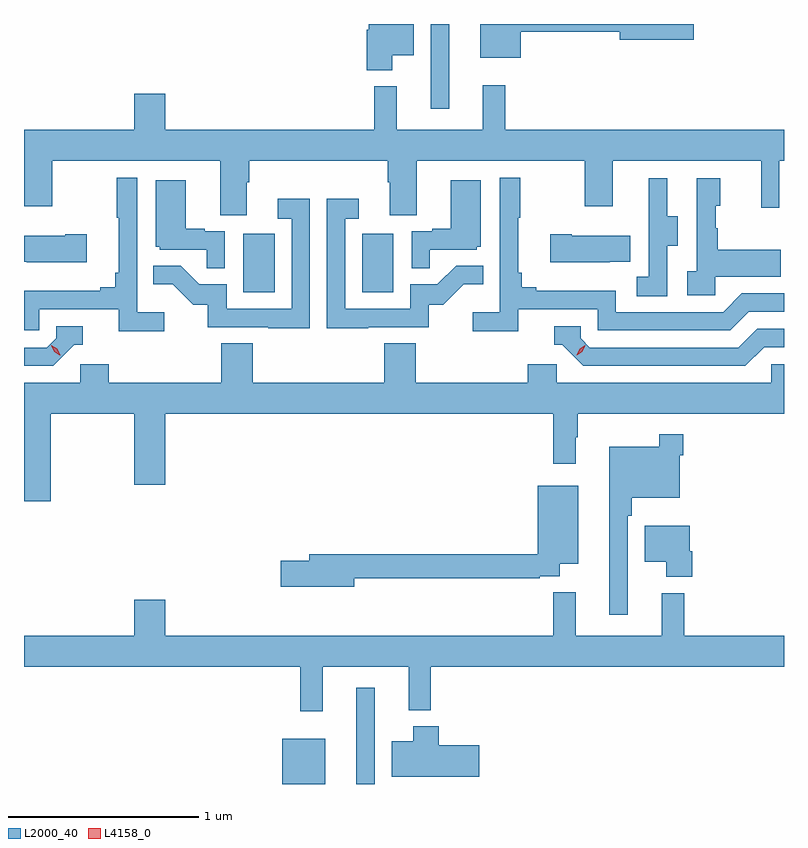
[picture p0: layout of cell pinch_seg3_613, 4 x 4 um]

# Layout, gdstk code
import gdstk
lib = gdstk.Library(unit=1e-6, precision=1e-09)
def R(c, l, rs):  # rectangles x0, y0, x1, y1
    for r in rs: c.add(gdstk.rectangle(r[:2], r[2:], *l))
def P(c, l, *ps):  # polygons
    for p in ps: c.add(gdstk.Polygon(p, *l))
L2000_40 = (2000, 40)
L4158_0 = (4158, 0)

pinch_seg3_613 = lib.new_cell('pinch_seg3_613')
R(pinch_seg3_613, L2000_40, [(1064.888,674.992,1065.115,675.229), (1065.278,674.992,1065.375,675.499), (1064.684,677.58,1064.848,677.887), (1065.308,677.58,1065.472,677.887), (1065.669,678.546,1065.766,678.992)])
P(pinch_seg3_613, L2000_40, [(1065.466,678.827),(1065.58,678.827),(1065.58,678.992),(1065.344,678.992),(1065.344,678.963),(1065.332,678.963),(1065.332,678.749),(1065.466,678.749)],
  [(1066.144,678.952),(1066.664,678.952),(1066.664,678.91),(1067.053,678.91),(1067.053,678.992),(1065.929,678.992),(1065.929,678.815),(1066.144,678.815)],
  [(1064.701,678.16),(1064.714,678.16),(1064.714,678.272),(1065.443,678.272),(1065.443,678.16),(1065.455,678.16),(1065.455,677.986),(1065.595,677.986),(1065.595,678.272),(1066.48,678.272),(1066.48,678.033),(1066.627,678.033),(1066.627,678.272),(1067.408,678.272),(1067.408,678.024),(1067.505,678.024),(1067.505,678.272),(1067.529,678.272),(1067.529,678.436),(1066.061,678.436),(1066.061,678.67),(1065.944,678.67),(1065.944,678.436),(1065.491,678.436),(1065.491,678.664),(1065.373,678.664),(1065.373,678.436),(1064.272,678.436),(1064.272,678.625),(1064.108,678.625),(1064.108,678.436),(1063.529,678.436),(1063.529,678.033),(1063.677,678.033),(1063.677,678.272),(1064.561,678.272),(1064.561,677.986),(1064.701,677.986)],
  [(1064.266,677.476),(1064.124,677.476),(1064.124,678.184),(1064.016,678.184),(1064.016,677.971),(1064.027,677.971),(1064.027,677.683),(1064.008,677.683),(1064.008,677.606),(1063.931,677.606),(1063.931,677.587),(1063.529,677.587),(1063.529,677.379),(1063.608,677.379),(1063.608,677.49),(1064.027,677.49),(1064.027,677.374),(1064.266,677.374)],
  [(1066.13,677.49),(1066.548,677.49),(1066.548,677.379),(1067.245,677.379),(1067.344,677.478),(1067.529,677.478),(1067.529,677.574),(1067.307,677.574),(1067.208,677.475),(1066.644,677.475),(1066.644,677.587),(1066.225,677.587),(1066.225,677.606),(1066.148,677.606),(1066.148,677.683),(1066.129,677.683),(1066.129,677.971),(1066.141,677.971),(1066.141,678.184),(1066.032,678.184),(1066.032,677.476),(1065.891,677.476),(1065.891,677.374),(1066.13,677.374)],
  [(1066.914,677.824),(1066.969,677.824),(1066.969,677.979),(1066.915,677.979),(1066.915,678.181),(1066.817,678.181),(1066.817,677.967),(1066.818,677.967),(1066.818,677.663),(1066.755,677.663),(1066.755,677.56),(1066.914,677.56)],
  [(1067.166,677.663),(1067.513,677.663),(1067.513,677.803),(1067.179,677.803),(1067.179,677.918),(1067.169,677.918),(1067.169,678.036),(1067.194,678.036),(1067.194,678.181),(1067.07,678.181),(1067.07,677.69),(1067.019,677.69),(1067.019,677.565),(1067.166,677.565)],
  [(1065.665,677.805),(1065.912,677.805),(1065.912,677.82),(1065.934,677.82),(1065.934,678.169),(1065.776,678.169),(1065.776,677.914),(1065.677,677.914),(1065.677,677.901),(1065.57,677.901),(1065.57,677.707),(1065.665,677.707)],
  [(1064.586,677.901),(1064.48,677.901),(1064.48,677.914),(1064.38,677.914),(1064.38,678.169),(1064.222,678.169),(1064.222,677.82),(1064.244,677.82),(1064.244,677.805),(1064.491,677.805),(1064.491,677.707),(1064.586,677.707)],
  [(1065.341,677.397),(1065.66,677.397),(1065.66,677.514),(1065.736,677.514),(1065.843,677.621),(1065.947,677.621),(1065.947,677.72),(1065.803,677.72),(1065.705,677.622),(1065.561,677.622),(1065.561,677.493),(1065.219,677.493),(1065.219,677.967),(1065.292,677.967),(1065.292,678.073),(1065.123,678.073),(1065.123,677.392),(1065.341,677.392)],
  [(1065.033,678.073),(1064.865,678.073),(1064.865,677.967),(1064.937,677.967),(1064.937,677.493),(1064.595,677.493),(1064.595,677.622),(1064.451,677.622),(1064.353,677.72),(1064.209,677.72),(1064.209,677.621),(1064.313,677.621),(1064.42,677.514),(1064.497,677.514),(1064.497,677.397),(1064.815,677.397),(1064.815,677.392),(1065.033,677.392)],
  [(1066.613,677.741),(1066.721,677.741),(1066.721,677.878),(1066.411,677.878),(1066.411,677.886),(1066.299,677.886),(1066.299,677.738),(1066.613,677.738)],
  [(1063.858,677.886),(1063.745,677.886),(1063.745,677.878),(1063.529,677.878),(1063.529,677.741),(1063.543,677.741),(1063.543,677.738),(1063.858,677.738)],
  [(1067.425,677.292),(1067.529,677.292),(1067.529,677.388),(1067.388,677.388),(1067.289,677.289),(1066.506,677.289),(1066.458,677.337),(1066.458,677.4),(1066.319,677.4),(1066.319,677.304),(1066.362,677.304),(1066.473,677.193),(1067.326,677.193)],
  [(1063.794,677.304),(1063.837,677.304),(1063.837,677.4),(1063.698,677.4),(1063.698,677.337),(1063.65,677.289),(1063.529,677.289),(1063.529,677.193),(1063.683,677.193)],
  [(1063.671,676.94),(1064.108,676.94),(1064.108,676.566),(1064.272,676.566),(1064.272,676.94),(1066.315,676.94),(1066.315,676.677),(1066.432,676.677),(1066.432,676.817),(1066.444,676.817),(1066.444,676.94),(1067.529,676.94),(1067.529,677.202),(1067.463,677.202),(1067.463,677.104),(1066.332,677.104),(1066.332,677.202),(1066.181,677.202),(1066.181,677.104),(1065.59,677.104),(1065.59,677.312),(1065.425,677.312),(1065.425,677.104),(1064.732,677.104),(1064.732,677.312),(1064.567,677.312),(1064.567,677.104),(1063.976,677.104),(1063.976,677.202),(1063.824,677.202),(1063.824,677.104),(1063.529,677.104),(1063.529,676.479),(1063.671,676.479)],
  [(1066.707,676.403),(1066.727,676.403),(1066.727,676.499),(1066.98,676.499),(1066.98,676.721),(1067,676.721),(1067,676.834),(1066.872,676.834),(1066.872,676.768),(1066.61,676.768),(1066.61,675.882),(1066.707,675.882)],
  [(1065.268,676.074),(1066.244,676.074),(1066.244,676.086),(1066.348,676.086),(1066.348,676.151),(1066.447,676.151),(1066.447,676.561),(1066.232,676.561),(1066.232,676.202),(1065.029,676.202),(1065.029,676.166),(1064.88,676.166),(1064.88,676.031),(1065.268,676.031)],
  [(1067.045,676.218),(1067.032,676.218),(1067.032,676.351),(1066.796,676.351),(1066.796,676.163),(1066.91,676.163),(1066.91,676.082),(1067.045,676.082)],
  [(1065.101,675.608),(1065.554,675.608),(1065.554,675.38),(1065.671,675.38),(1065.671,675.608),(1067.529,675.608),(1067.529,675.772),(1067.003,675.772),(1067.003,675.997),(1066.886,675.997),(1066.886,675.772),(1066.433,675.772),(1066.433,676.001),(1066.315,676.001),(1066.315,675.772),(1064.272,675.772),(1064.272,675.961),(1064.108,675.961),(1064.108,675.772),(1063.529,675.772),(1063.529,675.608),(1064.983,675.608),(1064.983,675.375),(1065.101,675.375)],
  [(1065.925,675.195),(1065.713,675.195),(1065.713,675.295),(1065.578,675.295),(1065.578,675.217),(1065.464,675.217),(1065.464,675.029),(1065.925,675.029)])
P(pinch_seg3_613, L4158_0, [(1066.437,677.249),(1066.437,677.249),(1066.453,677.282),(1066.484,677.301),(1066.484,677.301),(1066.484,677.301),(1066.468,677.268),(1066.437,677.249)],
  [(1063.718,677.249),(1063.688,677.268),(1063.672,677.301),(1063.672,677.301),(1063.672,677.301),(1063.703,677.282),(1063.719,677.249),(1063.719,677.249)])

lib.write_gds('pinch_seg3_613.gds')
